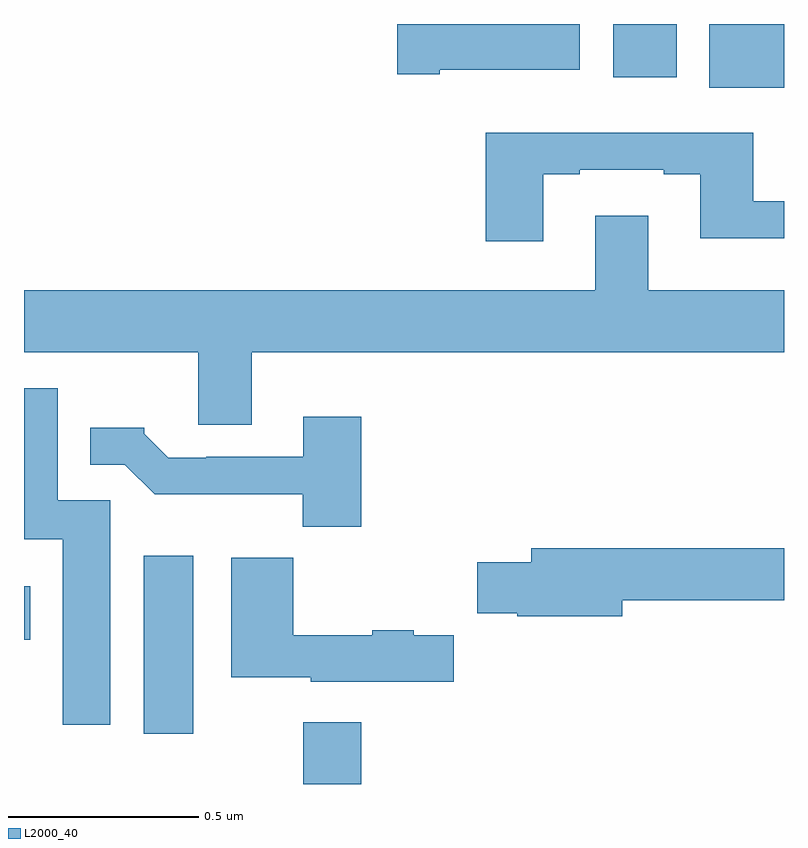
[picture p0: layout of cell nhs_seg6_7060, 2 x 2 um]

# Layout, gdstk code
import gdstk
lib = gdstk.Library(unit=1e-6, precision=1e-09)
def R(c, l, rs):  # rectangles x0, y0, x1, y1
    for r in rs: c.add(gdstk.rectangle(r[:2], r[2:], *l))
def P(c, l, *ps):  # polygons
    for p in ps: c.add(gdstk.Polygon(p, *l))
L2000_40 = (2000, 40)

nhs_seg6_7060 = lib.new_cell('nhs_seg6_7060')
R(nhs_seg6_7060, L2000_40, [(203.735,979.5,203.888,979.663), (203.315,979.632,203.446,980.101), (203,979.88,203.017,980.02), (204.803,981.332,205,981.5), (204.551,981.36,204.718,981.5)])
P(nhs_seg6_7060, L2000_40, [(204.094,981.38),(204.463,981.38),(204.463,981.5),(203.982,981.5),(203.982,981.368),(204.094,981.368)],
  [(204.367,981.105),(204.463,981.105),(204.463,981.117),(204.683,981.117),(204.683,981.105),(204.779,981.105),(204.779,980.936),(205,980.936),(205,981.033),(204.919,981.033),(204.919,981.214),(204.215,981.214),(204.215,980.928),(204.367,980.928)],
  [(203.599,980.636),(205,980.636),(205,980.8),(204.643,980.8),(204.643,980.995),(204.503,980.995),(204.503,980.8),(203,980.8),(203,980.636),(203.459,980.636),(203.459,980.446),(203.599,980.446)],
  [(203.227,980.247),(203.089,980.247),(203.089,980.542),(203,980.542),(203,980.144),(203.102,980.144),(203.102,979.656),(203.227,979.656)],
  [(203.888,980.467),(203.735,980.467),(203.735,980.361),(203.479,980.361),(203.479,980.358),(203.38,980.358),(203.316,980.422),(203.316,980.437),(203.174,980.437),(203.174,980.34),(203.265,980.34),(203.344,980.262),(203.733,980.262),(203.733,980.177),(203.888,980.177)],
  [(204.574,979.984),(205,979.984),(205,980.12),(204.335,980.12),(204.335,980.084),(204.193,980.084),(204.193,979.95),(204.298,979.95),(204.298,979.942),(204.574,979.942)],
  [(204.131,979.892),(204.026,979.892),(204.026,979.904),(203.916,979.904),(203.916,979.891),(203.708,979.891),(203.708,980.095),(203.546,980.095),(203.546,979.781),(203.754,979.781),(203.754,979.769),(204.131,979.769)])

lib.write_gds('nhs_seg6_7060.gds')
